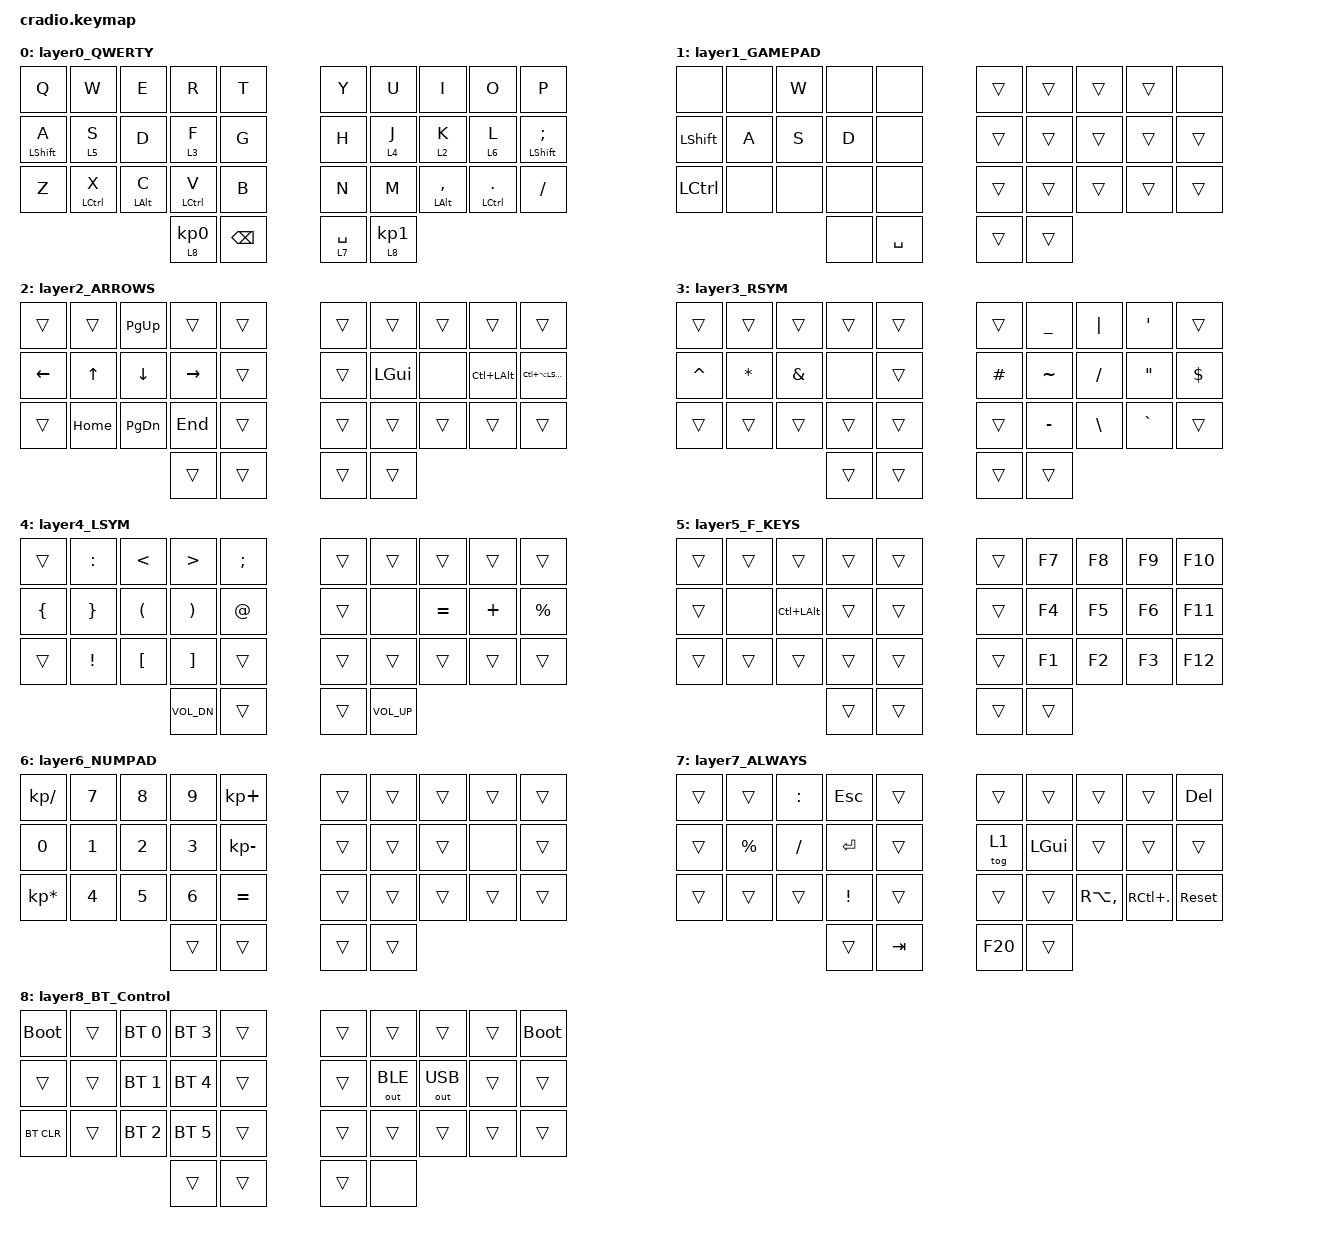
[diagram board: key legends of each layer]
/*
 * Copyright (c) 2020 The ZMK Contributors
 *
 * SPDX-License-Identifier: MIT
 */

#include <behaviors.dtsi>
#include <dt-bindings/zmk/keys.h>
#include <dt-bindings/zmk/bt.h>
#include <dt-bindings/zmk/outputs.h>
#include <dt-bindings/zmk/reset.h>
#include <dt-bindings/zmk/ext_power.h>

//Layer Definitions
	#define QWERTY 0
	#define GAMEPAD 1
	#define ARROWS 2
	#define RSYM 3
	#define LSYM 4
	#define F_KEYS 5
	#define NUMPAD 6
	#define ALWAYS 7
	#define BT_Control 


&mt {
	flavor = "tap-preferred";
	tapping_term_ms = <200>;
};

/ { 
        keymap {
                compatible = "zmk,keymap";
                
       		layer0_QWERTY {
          bindings = <
          &kp Q 	&kp W 		&kp E 		&kp R 		&kp T 			&kp Y 		&kp U 		&kp I 		&kp O 		&kp P 
	  &mt LSHFT A 	&lt 5 S 	&kp D 		&lt 3 F 	&kp G 			&kp H 		&lt 4 J 	&lt 2 K 	&lt 6 L 	&mt LSHFT SEMI 
	  &kp Z 	&mt LCTRL X 	&mt LALT C 	&mt LCTRL V 	&kp B 			&kp N 		&kp M 		&mt LALT COMMA 	&mt LCTRL DOT 	&kp SLASH 
	  						&lt 8 KP_N0 	&kp BSPC 		&lt 7 SPACE 	&lt 8 KP_N1
          >;
        };

       		layer1_GAMEPAD {
          bindings = <
          &none 	&none 		&kp W 		&none 		&none 			&trans 		&trans 		&trans 		&trans 		&none 
	  &kp LSHFT 	&kp A 		&kp S		&kp D 		&none 			&trans 		&trans 		&trans 		&trans 		&trans 
	  &kp LCTRL 	&none 		&none 		&none 		&none 			&trans 		&trans 		&trans 		&trans 		&trans 
	  						&none 		&kp SPACE		&trans 		&trans
          >;
        };
		
		layer2_ARROWS {
          bindings = <
          &trans 	&trans 		&kp PG_UP 	&trans 		&trans 			&trans 		&trans 		&trans 		&trans 		&trans 
	  &kp LEFT 	&kp UP 		&kp DOWN 	&kp RIGHT 	&trans 			&trans 		&kp LEFT_GUI 	&none 		&kp LC(LALT) 	&kp LC(LA(LSHFT)) 
	  &trans 	&kp HOME 	&kp PG_DN 	&kp END 	&trans 			&trans 		&trans 		&trans 		&trans 		&trans 
	  						&trans 		&trans 			&trans 		&trans
          >;
        };
		
		layer3_RSYM {
          bindings = <
          &trans 	&trans 		&trans 		&trans 		&trans 			&trans 		&kp UNDER 	&kp PIPE 	&kp APOS	&trans 
	  &kp CARET 	&kp STAR 	&kp AMPS 	&none	 	&trans 			&kp HASH 	&kp TILDE 	&kp SLASH 	&kp DQT 	&kp DLLR 
	  &trans 	&trans 		&trans 		&trans 		&trans 			&trans 		&kp MINUS 	&kp BACKSLASH 	&kp GRAVE 	&trans 
	  						&trans	 	&trans 			&trans 		&trans
          >;
        };
	
		layer4_LSYM {
          bindings = <
          &trans 	&kp COLON 	&kp LT 		&kp GT 		&kp SEMI 		&trans 		&trans 		&trans 		&trans 		&trans 
	  &kp LBRC 	&kp RBRC 	&kp LPAR 	&kp RPAR 	&kp AT 			&trans 		&none		&kp EQUAL 	&kp PLUS 	&kp PRCNT 
	  &trans 	&kp EXCL 	&kp LBKT 	&kp RBKT 	&trans 			&trans 		&trans 		&trans 		&trans 		&trans 
	  						&kp C_VOL_DN 	&trans 			&trans 		&kp C_VOL_UP
          >;
        };
	
		layer5_F_KEYS {
          bindings = <
          &trans 	&trans 		&trans 		&trans 		&trans 			&trans 		&kp F7 		&kp F8 		&kp F9 		&kp F10 
	  &trans 	&none	 	&kp LC(LALT) 	&trans 		&trans 			&trans 		&kp F4 		&kp F5 		&kp F6 		&kp F11 
	  &trans 	&trans 		&trans 		&trans 		&trans 			&trans 		&kp F1 		&kp F2 		&kp F3 		&kp F12 
	  						&trans 		&trans 			&trans 		&trans
          >;
        };
	
		layer6_NUMPAD {
          bindings = <
          &kp KP_SLASH 	&kp N7 		&kp N8 		&kp N9 		&kp KP_PLUS 		&trans 		&trans 		&trans 		&trans 		&trans 
	  &kp N0 	&kp N1 		&kp N2 		&kp N3 		&kp KP_MINUS 		&trans 		&trans 		&trans 		&none		&trans 
	  &kp KP_ASTERISK &kp N4 	&kp N5 		&kp N6 		&kp EQUAL 		&trans 		&trans 		&trans 		&trans 		&trans 
	  						&trans 		&trans 			&trans 		&trans
          >;
        };
	
		layer7_ALWAYS {
          bindings = <
          &trans 	&trans 		&kp COLON 	&kp ESC 	&trans 			&trans 		&trans 		&trans 		&trans 		&kp DEL 
	  &trans 	&kp PRCNT	&kp SLASH 	&kp ENTER 	&trans 			&tog 1 		&kp LEFT_GUI 	&trans 		&trans 		&trans 
	  &trans 	&trans 		&trans 		&kp EXCL 	&trans 			&trans 		&trans 		&kp RA(COMMA) 	&kp RC(DOT)	&sys_reset
	  						&trans 		&kp TAB 		&kp F20 	&trans
          >;
        };
		
		layer8_BT_Control {
          bindings = <
          &bootloader 	&trans 		&bt BT_SEL 0	&bt BT_SEL 3	&trans 			&trans 		&trans 		&trans 		&trans 		&bootloader 
	  &trans 	&trans 		&bt BT_SEL 1	&bt BT_SEL 4	&trans 			&trans 		&out OUT_BLE	&out OUT_USB	&trans 		&trans 
	  &bt BT_CLR 	&trans 		&bt BT_SEL 2	&bt BT_SEL 5	&trans 			&trans 		&trans 		&trans 		&trans 		&trans 
	  						&trans 		&trans 			&trans 		&none
          >;
        };
        
	};
};
